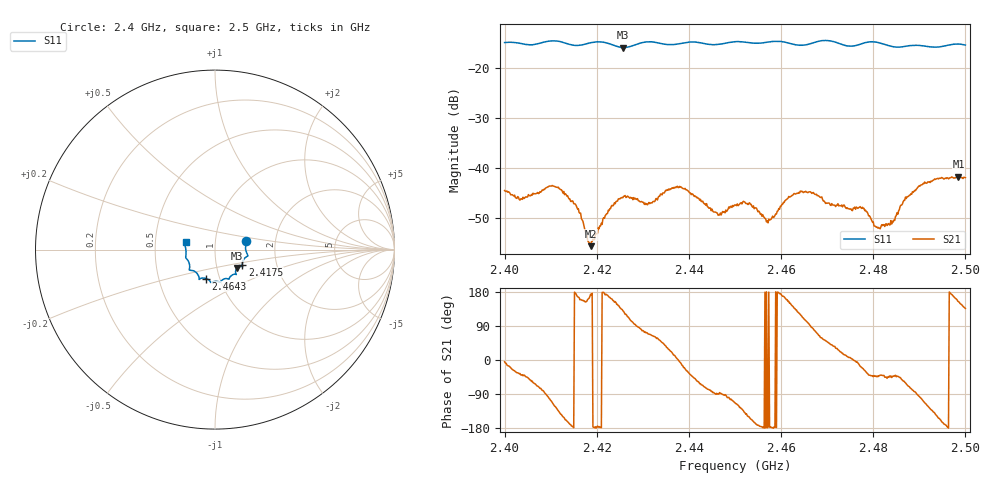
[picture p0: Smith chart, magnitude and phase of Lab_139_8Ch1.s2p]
# Hz S RI R 50
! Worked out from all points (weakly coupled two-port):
!   601 points, 2.4 GHz to 2.5 GHz, reference 50 ohm
!   highest |S21| = -41.70 dB at 2.4985 GHz (marker M1); lowest = -55.5 dB at 2.4187 GHz (marker M2)
!   lowest |S11| = -15.9 dB at 2.4257 GHz (marker M3), VSWR 1.38, Z = 62.5 - j13.1 ohm
!   |S11| at or under -10 dB: start of sweep to end of sweep
!   S12 and S22 are empty: the file has one direction only
!   S11 on the Smith chart (normalised r, x): 2.4 GHz: 1.41, +0.14; 2.4175 GHz: 1.34, -0.23; 2.4643 GHz: 0.86, -0.29; 2.5 GHz: 0.72, +0.06
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2.4e9  0.1728 0.0488  0.00597 -0.000501  0 0  0 0
2.403667e9  0.1727 0.0286  0.00381 -0.00318  0 0  0 0
2.411167e9  0.1827 -0.0356  -0.00376 -0.00528  0 0  0 0
2.416667e9  0.1527 -0.074  -0.00293 0.00114  0 0  0 0
2.4175e9  0.1518 -0.0832  -0.00212 0.00107  0 0  0 0
2.418667e9  0.1529 -0.0927  -0.00166 0.000187  0 0  0 0
2.425667e9  0.123 -0.102  -0.00326 0.00391  0 0  0 0
2.430833e9  0.1187 -0.1383  0.00135 0.00424  0 0  0 0
2.433333e9  0.1131 -0.1371  0.00291 0.00424  0 0  0 0
2.437833e9  0.0832 -0.1531  0.00643 -0.000247  0 0  0 0
2.4465e9  0.0443 -0.1665  -6.33e-06 -0.00342  0 0  0 0
2.45e9  0.0288 -0.1808  -0.00169 -0.00398  0 0  0 0
2.453e9  0.0172 -0.1779  -0.00385 -0.00229  0 0  0 0
2.457333e9  -0.0155 -0.1813  -0.00311 4.84e-05  0 0  0 0
2.464333e9  -0.0499 -0.161  -0.00277 0.00515  0 0  0 0
2.466667e9  -0.0758 -0.1594  0.000401 0.0056  0 0  0 0
2.4775e9  -0.131 -0.1155  0.00373 -0.00138  0 0  0 0
2.481e9  -0.143 -0.109  0.00182 -0.00176  0 0  0 0
2.483333e9  -0.1411 -0.0902  0.00196 -0.00201  0 0  0 0
2.490333e9  -0.1629 -0.0384  -0.00123 -0.00669  0 0  0 0
2.4985e9  -0.1699 0.0348  -0.0074 0.00359  0 0  0 0
2.5e9  -0.164 0.0432  -0.00579 0.00563  0 0  0 0
